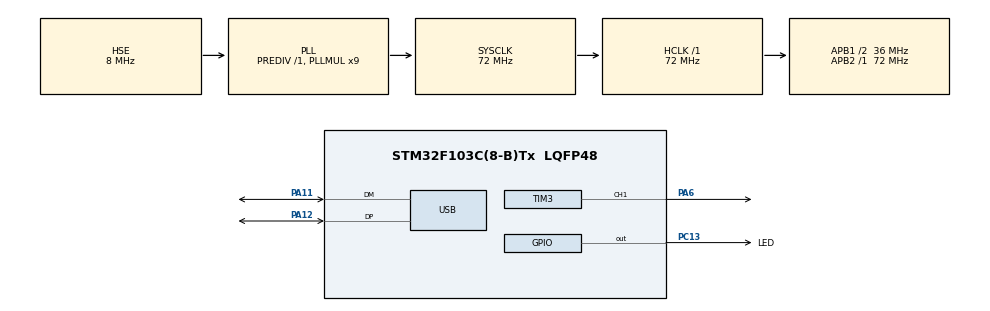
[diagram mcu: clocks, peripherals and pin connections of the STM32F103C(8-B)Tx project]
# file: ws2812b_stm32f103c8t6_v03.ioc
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Dma.Request0=TIM3_CH1/TRIG
Dma.TIM3_CH1/TRIG.0.Direction=DMA_MEMORY_TO_PERIPH
Dma.TIM3_CH1/TRIG.0.Instance=DMA1_Channel6
Dma.TIM3_CH1/TRIG.0.MemDataAlignment=DMA_MDATAALIGN_BYTE
Dma.TIM3_CH1/TRIG.0.MemInc=DMA_MINC_ENABLE
Dma.TIM3_CH1/TRIG.0.Mode=DMA_CIRCULAR
Dma.TIM3_CH1/TRIG.0.PeriphDataAlignment=DMA_PDATAALIGN_HALFWORD
Dma.TIM3_CH1/TRIG.0.PeriphInc=DMA_PINC_DISABLE
Dma.TIM3_CH1/TRIG.0.Priority=DMA_PRIORITY_VERY_HIGH
Mcu.Family=STM32F1
Mcu.Name=STM32F103C(8-B)Tx
Mcu.Package=LQFP48
NVIC.DMA1_Channel6_IRQn=true\:0\:0\:false\:false\:true\:false\:true
NVIC.PriorityGroup=NVIC_PRIORITYGROUP_4
NVIC.TIM3_IRQn=true\:0\:0\:false\:false\:true\:true\:true
NVIC.USB_LP_CAN1_RX0_IRQn=true\:0\:0\:false\:false\:true\:false\:true
PA11.Mode=Device
PA11.Signal=USB_DM
PA12.Mode=Device
PA12.Signal=USB_DP
PA13.Mode=Serial_Wire
PA13.Signal=SYS_JTMS-SWDIO
PA14.Mode=Serial_Wire
PA14.Signal=SYS_JTCK-SWCLK
PA6.GPIO_Speed=GPIO_SPEED_FREQ_HIGH
PA6.Signal=S_TIM3_CH1
PC13-TAMPER-RTC.GPIO_Label=LED
PC13-TAMPER-RTC.Signal=GPIO_Output
PC14-OSC32_IN.Mode=LSE-External-Oscillator
PC14-OSC32_IN.Signal=RCC_OSC32_IN
PC15-OSC32_OUT.Mode=LSE-External-Oscillator
PC15-OSC32_OUT.Signal=RCC_OSC32_OUT
PD0-OSC_IN.Mode=HSE-External-Oscillator
PD0-OSC_IN.Signal=RCC_OSC_IN
PD1-OSC_OUT.Mode=HSE-External-Oscillator
PD1-OSC_OUT.Signal=RCC_OSC_OUT
ProjectManager.HeapSize=0x200
ProjectManager.StackSize=0x400
ProjectManager.TargetToolchain=STM32CubeIDE
RCC.AHBFreq_Value=72000000
RCC.APB1CLKDivider=RCC_HCLK_DIV2
RCC.APB1Freq_Value=36000000
RCC.APB1TimFreq_Value=72000000
RCC.APB2Freq_Value=72000000
RCC.APB2TimFreq_Value=72000000
RCC.HCLKFreq_Value=72000000
RCC.PLLMUL=RCC_PLL_MUL9
RCC.PLLSourceVirtual=RCC_PLLSOURCE_HSE
RCC.SYSCLKFreq_VALUE=72000000
RCC.SYSCLKSource=RCC_SYSCLKSOURCE_PLLCLK
RCC.USBFreq_Value=48000000
RCC.USBPrescaler=RCC_USBCLKSOURCE_PLL_DIV1_5
SH.S_TIM3_CH1.0=TIM3_CH1,PWM Generation1 CH1
TIM3.Channel-PWM\ Generation1\ CH1=TIM_CHANNEL_1
TIM3.Period=89
USB_DEVICE.CLASS_NAME_FS=CDC
USB_DEVICE.VirtualMode=Cdc
USB_DEVICE.VirtualModeFS=Cdc_FS
VP_TIM3_VS_ClockSourceINT.Mode=Internal
VP_USB_DEVICE_VS_USB_DEVICE_CDC_FS.Mode=CDC_FS
board=custom

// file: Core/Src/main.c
/* USER CODE BEGIN Header */
/**
  ******************************************************************************
  * @file           : main.c
  * @brief          : Main program body
  ******************************************************************************
  * @attention
  *
  * <h2><center>&copy; Copyright (c) 2022 STMicroelectronics.
  * All rights reserved.</center></h2>
  *
  * This software component is licensed by ST under Ultimate Liberty license
  * SLA0044, the "License"; You may not use this file except in compliance with
  * the License. You may obtain a copy of the License at:
  *                             www.st.com/SLA0044
  *
  ******************************************************************************
  */
/* USER CODE END Header */
#include "main.h"
#include "usb_device.h"

/* USER CODE BEGIN Includes */

#include <stdio.h>
#include <stdlib.h>

/* USER CODE END Includes */

TIM_HandleTypeDef htim3;
DMA_HandleTypeDef hdma_tim3_ch1_trig;

/* USER CODE BEGIN PV */

#include "ws2812b.h"

char input_usb_buffer[ USB_BUFFER_LENGTH ] = "";
uint16_t in_usb_buf_pos = 0;
char *output_usb_buffer[ USB_INPUT_QUEUE_LEN ];

char prompt[] = "\r\n> ";
char info[]   = "WS2812B driver.\r\n";
char help[]   = " led <LED number> <color> [ENTER]\r\n \
 - LED number from 1 to N\r\n \
 - color #RRGGBB using hex notation\r\n \
example: led 3 #FF0000\r\n \
 - for red light led number 3 with maximum volume\r\n \
example: led 1 off\r\n \
 - for turn off led 1\r\n\r\n";

uint8_t  effect_on_off = 0;
uint8_t  welcome_cnt = 0;
uint16_t counter = 0;
uint16_t led_loop = 0;

/* USER CODE END PV */

void SystemClock_Config(void);
static void MX_GPIO_Init(void);
static void MX_DMA_Init(void);
static void MX_TIM3_Init(void);
/* USER CODE BEGIN PFP */

void usb_transmit_fs( uint8_t *txBuf, uint32_t buf_len );
void welcome(void);
void get_command(void);
void send_queue_via_usb(void);
void write_to_future_send_via_usb( char *text_to_send );
void send_prompt(void);
void print_to_usb( uint8_t x );
void print_str_to_usb( char *str );

/* USER CODE END PFP */

int main(void)
{

  /* MCU Configuration--------------------------------------------------------*/

  /* Reset of all peripherals, Initializes the Flash interface and the Systick. */
  HAL_Init();

  /* Configure the system clock */
  SystemClock_Config();

  /* Initialize all configured peripherals */
  MX_GPIO_Init();
  MX_DMA_Init();
  MX_TIM3_Init();
  MX_USB_DEVICE_Init();
  /* USER CODE BEGIN 2 */

  for( uint8_t loop = 0; loop < USB_INPUT_QUEUE_LEN; loop++ ) {
	  output_usb_buffer[ loop ] = NULL;
  }

  ws2812b_init();

  srand( (unsigned) time( NULL ));

  /* USER CODE END 2 */

  /* Infinite loop */
  /* USER CODE BEGIN WHILE */

  uint16_t volume = 128; // max 256
  uint8_t r = gamma8[ rand() % volume ];
  uint8_t g = gamma8[ rand() % volume ];
  uint8_t b = gamma8[ rand() % volume ];

  while (1)
  {

	send_queue_via_usb();
	HAL_Delay( 1 );

	if( effect_on_off ) counter++;
	if( counter >= 100 && effect_on_off ) {
		counter = 0;
		if( led_loop >= LED_N ) {
			led_loop = 0;
			r = gamma8[ rand() % volume ];
			g = gamma8[ rand() % volume ];
			b = gamma8[ rand() % volume ];
		}
		ws2812b_set_color( led_loop, r, g, b );
		ws2812b_update();
		led_loop++;
	}

    /* USER CODE END WHILE */

  }
}

void SystemClock_Config(void)
{
  RCC_OscInitTypeDef RCC_OscInitStruct = {0};
  RCC_ClkInitTypeDef RCC_ClkInitStruct = {0};
  RCC_PeriphCLKInitTypeDef PeriphClkInit = {0};

  /** Initializes the RCC Oscillators according to the specified parameters
  * in the RCC_OscInitTypeDef structure.
  */
  RCC_OscInitStruct.OscillatorType = RCC_OSCILLATORTYPE_HSE;
  RCC_OscInitStruct.HSEState = RCC_HSE_ON;
  RCC_OscInitStruct.HSEPredivValue = RCC_HSE_PREDIV_DIV1;
  RCC_OscInitStruct.HSIState = RCC_HSI_ON;
  RCC_OscInitStruct.PLL.PLLState = RCC_PLL_ON;
  RCC_OscInitStruct.PLL.PLLSource = RCC_PLLSOURCE_HSE;
  RCC_OscInitStruct.PLL.PLLMUL = RCC_PLL_MUL9;
  if (HAL_RCC_OscConfig(&RCC_OscInitStruct) != HAL_OK)
  {
    Error_Handler();
  }
  /** Initializes the CPU, AHB and APB buses clocks
  */
  RCC_ClkInitStruct.ClockType = RCC_CLOCKTYPE_HCLK|RCC_CLOCKTYPE_SYSCLK
                              |RCC_CLOCKTYPE_PCLK1|RCC_CLOCKTYPE_PCLK2;
  RCC_ClkInitStruct.SYSCLKSource = RCC_SYSCLKSOURCE_PLLCLK;
  RCC_ClkInitStruct.AHBCLKDivider = RCC_SYSCLK_DIV1;
  RCC_ClkInitStruct.APB1CLKDivider = RCC_HCLK_DIV2;
  RCC_ClkInitStruct.APB2CLKDivider = RCC_HCLK_DIV1;

  if (HAL_RCC_ClockConfig(&RCC_ClkInitStruct, FLASH_LATENCY_2) != HAL_OK)
  {
    Error_Handler();
  }
  PeriphClkInit.PeriphClockSelection = RCC_PERIPHCLK_USB;
  PeriphClkInit.UsbClockSelection = RCC_USBCLKSOURCE_PLL_DIV1_5;
  if (HAL_RCCEx_PeriphCLKConfig(&PeriphClkInit) != HAL_OK)
  {
    Error_Handler();
  }
}

static void MX_TIM3_Init(void)
{

  TIM_ClockConfigTypeDef sClockSourceConfig = {0};
  TIM_MasterConfigTypeDef sMasterConfig = {0};
  TIM_OC_InitTypeDef sConfigOC = {0};

  htim3.Instance = TIM3;
  htim3.Init.Prescaler = 0;
  htim3.Init.CounterMode = TIM_COUNTERMODE_UP;
  htim3.Init.Period = 89;
  htim3.Init.ClockDivision = TIM_CLOCKDIVISION_DIV1;
  htim3.Init.AutoReloadPreload = TIM_AUTORELOAD_PRELOAD_DISABLE;
  if (HAL_TIM_Base_Init(&htim3) != HAL_OK)
  {
    Error_Handler();
  }
  sClockSourceConfig.ClockSource = TIM_CLOCKSOURCE_INTERNAL;
  if (HAL_TIM_ConfigClockSource(&htim3, &sClockSourceConfig) != HAL_OK)
  {
    Error_Handler();
  }
  if (HAL_TIM_PWM_Init(&htim3) != HAL_OK)
  {
    Error_Handler();
  }
  sMasterConfig.MasterOutputTrigger = TIM_TRGO_RESET;
  sMasterConfig.MasterSlaveMode = TIM_MASTERSLAVEMODE_DISABLE;
  if (HAL_TIMEx_MasterConfigSynchronization(&htim3, &sMasterConfig) != HAL_OK)
  {
    Error_Handler();
  }
  sConfigOC.OCMode = TIM_OCMODE_PWM1;
  sConfigOC.Pulse = 0;
  sConfigOC.OCPolarity = TIM_OCPOLARITY_HIGH;
  sConfigOC.OCFastMode = TIM_OCFAST_DISABLE;
  if (HAL_TIM_PWM_ConfigChannel(&htim3, &sConfigOC, TIM_CHANNEL_1) != HAL_OK)
  {
    Error_Handler();
  }
  HAL_TIM_MspPostInit(&htim3);

}

static void MX_DMA_Init(void)
{

  /* DMA controller clock enable */
  __HAL_RCC_DMA1_CLK_ENABLE();

  /* DMA interrupt init */
  /* DMA1_Channel6_IRQn interrupt configuration */
  HAL_NVIC_SetPriority(DMA1_Channel6_IRQn, 0, 0);
  HAL_NVIC_EnableIRQ(DMA1_Channel6_IRQn);

}

static void MX_GPIO_Init(void)
{
  GPIO_InitTypeDef GPIO_InitStruct = {0};

  /* GPIO Ports Clock Enable */
  __HAL_RCC_GPIOC_CLK_ENABLE();
  __HAL_RCC_GPIOD_CLK_ENABLE();
  __HAL_RCC_GPIOA_CLK_ENABLE();

  /*Configure GPIO pin Output Level */
  HAL_GPIO_WritePin(LED_GPIO_Port, LED_Pin, GPIO_PIN_RESET);

  /*Configure GPIO pin : LED_Pin */
  GPIO_InitStruct.Pin = LED_Pin;
  GPIO_InitStruct.Mode = GPIO_MODE_OUTPUT_PP;
  GPIO_InitStruct.Pull = GPIO_NOPULL;
  GPIO_InitStruct.Speed = GPIO_SPEED_FREQ_LOW;
  HAL_GPIO_Init(LED_GPIO_Port, &GPIO_InitStruct);

}

/* USER CODE BEGIN 4 */

void usb_transmit_fs( uint8_t *txBuf, uint32_t buf_len ) {
	wait_for_CDC_transmit_ready();
	CDC_Transmit_FS( txBuf, buf_len );
//	while( CDC_Transmit_FS( txBuf, buf_len ) == USBD_BUSY ) { // USBD_OK
//		HAL_Delay( 1 );
//	}
}

void welcome(void) {
	if( welcome_cnt & 0x01 == 1 ) {
		welcome_cnt = 0;
		return;
	}
	welcome_cnt++;
	for( uint8_t loop = 0; loop < USB_INPUT_QUEUE_LEN; loop++ ) {
		if( output_usb_buffer[ loop ] != NULL ) return;
	}
	char *tmp_buf;
	tmp_buf = malloc( (strlen( info ) + strlen( prompt )) * sizeof( char ));
	strcpy( tmp_buf, info );
	strcat( tmp_buf, prompt );
	write_to_future_send_via_usb( tmp_buf );
}

void get_command(void) {
	char *out_str;
	char *result[ 5 ];
	input_usb_buffer[ in_usb_buf_pos ] = 0;
	strcat( input_usb_buffer, " " );
	char *token = strtok( input_usb_buffer, " " );
    uint8_t loop = 0;
	if( token != NULL ) {
		while( token != NULL && loop < 5 ) {
			result[ loop ] = malloc( strlen( token ) * sizeof( char ));
			strcpy( result[ loop ], token );
			loop++;
		    token = strtok( NULL, " " );
		}
	}
	else {
		result[ 0 ] = malloc( strlen( input_usb_buffer ) * sizeof( char ));
		strcpy( result[ 0 ], input_usb_buffer );
		loop++;
	}

    if( strcmp( result[ 0 ], "help" ) == 0 || strcmp( result[ 0 ], "?" ) == 0 ) {
    	out_str = malloc( strlen( help ) * sizeof( char ));
    	strcpy( out_str, help );
    	write_to_future_send_via_usb( out_str );
    }
    else if( strcmp( result[ 0 ], "on" ) == 0 ) {
    	HAL_GPIO_WritePin(GPIOC, GPIO_PIN_13, GPIO_PIN_RESET );
    }
    else if( strcmp( result[ 0 ], "off" ) == 0 ) {
    	HAL_GPIO_WritePin(GPIOC, GPIO_PIN_13, GPIO_PIN_SET );
    }
    else if( strcmp( result[ 0 ], "toggle" ) == 0 ) {
    	HAL_GPIO_TogglePin(GPIOC, GPIO_PIN_13 );
    }
    else if( strcmp( result[ 0 ], "led" ) == 0 ) {
    	if( loop >= 3 ) {
    		uint16_t led_no = atoi( result[ 1 ]) - 1;
    		uint32_t r = 0;
    		uint32_t g = 0;
    		uint32_t b = 0;
    		if( strcmp( result[ 2 ], "off" ) == 0 ) {
    			ws2812b_set_color( led_no, r, g, b );
				ws2812b_update();
				out_str = malloc( 50 * sizeof( char ));
//				spritnf( out_str, "LED %d\nR = %d\nG = %d\nB = %d\n", led_no, r, g, b );
				strcpy( out_str, "OK " );
				write_to_future_send_via_usb( out_str );
    		}
    		else if( result[ 2 ][ 0 ] == '#' && strlen( result[ 2 ]) >= 7 ) {
        		char r_str[] = "0x00";
    			r_str[ 2 ] = result[ 2 ][ 1 ];
    			r_str[ 3 ] = result[ 2 ][ 2 ];
    			sscanf( r_str, "%x", &r );
        		char g_str[] = "0x00";
    			g_str[ 2 ] = result[ 2 ][ 3 ];
    			g_str[ 3 ] = result[ 2 ][ 4 ];
    			sscanf( g_str, "%x", &g );
        		char b_str[] = "0x00";
    			b_str[ 2 ] = result[ 2 ][ 5 ];
    			b_str[ 3 ] = result[ 2 ][ 6 ];
    			sscanf( b_str, "%x", &b );
    			ws2812b_set_color( led_no, r, g, b );
			    ws2812b_update();
			    out_str = malloc( 50 * sizeof( char ));
//				spritnf( out_str, "LED %d\nR = %d\nG = %d\nB = %d\n", led_no, r, g, b );
				strcpy( out_str, "OK" );
				write_to_future_send_via_usb( out_str );
    		}
    		else if( loop >= 5 ) {
    			r = atoi( result[ 2 ]);
    			g = atoi( result[ 3 ]);
    			b = atoi( result[ 4 ]);
        		ws2812b_set_color( led_no, r, g, b );
    			ws2812b_update();
    			out_str = malloc( 50 * sizeof( char ));
//				spritnf( out_str, "LED %d\nR = %d\nG = %d\nB = %d\n", led_no, r, g, b );
				strcpy( out_str, "OK" );
				write_to_future_send_via_usb( out_str );
    		}
    	}
    }
    else if( strcmp( result[ 0 ], "effect" ) == 0 ) {
    	effect_on_off = ! effect_on_off;
    	if( ! effect_on_off ) {
    		counter  = 0;
    		led_loop = 0;
    	}
    }
    else if( strcmp( result[ 0 ], "turn" ) == 0 && strcmp( result[ 1 ], "off" ) == 0 ) {
    	clear_led_data();
    	ws2812b_update();
    	out_str = malloc( 50 * sizeof( char ));
		strcpy( out_str, "all LED's turn OFF" );
		write_to_future_send_via_usb( out_str );
    }

    while( loop > 0 ) {
    	loop--;
    	free( result[ loop ]);
    }
	in_usb_buf_pos = 0;
	send_prompt();
}

void send_queue_via_usb(void) {
	for( uint8_t loop = 0; loop < USB_INPUT_QUEUE_LEN; loop++ ) {
		if( output_usb_buffer[ loop ] != NULL && strlen( output_usb_buffer[ loop ]) > 0 ) {
			usb_transmit_fs( output_usb_buffer[ loop ], strlen( output_usb_buffer[ loop ]));
			free( output_usb_buffer[ loop ] );
			output_usb_buffer[ loop ] = NULL;
		}
	}
}

void write_to_future_send_via_usb( char *text_to_send ) {
	uint8_t loop = 0;

	while( loop < USB_INPUT_QUEUE_LEN && output_usb_buffer[ loop ] != NULL ) {
		loop++;
	}
	if( loop < USB_INPUT_QUEUE_LEN ) {
		output_usb_buffer[ loop ] = text_to_send;
	}
}

void send_prompt(void) {
	char *tmp_buf;
	tmp_buf = malloc( strlen( prompt ) * sizeof( char ));
	strcpy( tmp_buf, prompt );
	write_to_future_send_via_usb( tmp_buf );
}

void print_to_usb( uint8_t x ) {
	char *tmp_buf;
	tmp_buf = malloc( strlen( prompt ) * sizeof( char ));
	itoa( x, tmp_buf, 10 );
	strcat( tmp_buf, "\r\n" );
	write_to_future_send_via_usb( tmp_buf );
}

void print_str_to_usb( char *str ) {
	char *tmp_buf;
	tmp_buf = malloc( strlen( prompt ) * sizeof( char ));
	strcpy( tmp_buf, str );
	strcat( tmp_buf, "\r\n" );
	write_to_future_send_via_usb( tmp_buf );
}

/* USER CODE END 4 */

void Error_Handler(void)
{
}

/************************ (C) COPYRIGHT STMicroelectronics *****END OF FILE****/
